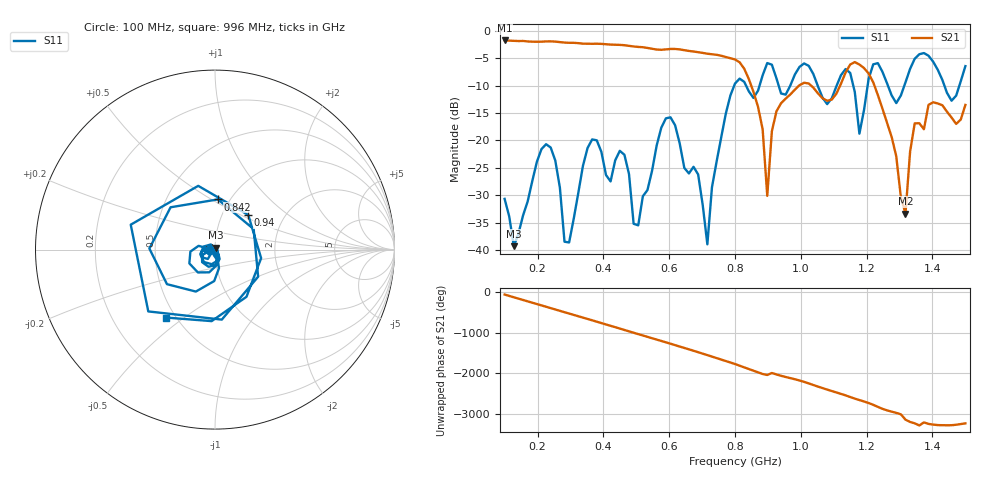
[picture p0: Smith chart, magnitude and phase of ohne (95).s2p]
! NanoVNA-App
! Date: 2025-09-26 09:56:08
! Start: 100MHz Stop: 1,5GHz Points: 101
! S-Parameter data: F S11 S21 S12 S22
# Hz S RI R 50
!  Frequency  S11_Real  S11_Imag  S21_Real  S21_Imag  S12_Real  S12_Imag  S22_Real  S22_Imag
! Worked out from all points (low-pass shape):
!   101 points, 100 MHz to 1.5 GHz, reference 50 ohm
!   highest |S21| = -1.79 dB at 100 MHz (marker M1); lowest = -33.3 dB at 1.318 GHz (marker M2)
!   |S21| within 3 dB of the highest: start of sweep to 771.1 MHz
!   lowest |S11| = -39.3 dB at 128 MHz (marker M3), VSWR 1.02, Z = 50.3 + j1.06 ohm
!   |S11| at or under -10 dB: start of sweep to 797.7 MHz; 833.5 MHz to 874.7 MHz (41.21 MHz wide, 4.83 % of centre); 1.051 GHz to 1.109 GHz (57.83 MHz wide, 5.35 % of centre)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
!   S12 and S22 are empty: the file has one direction only
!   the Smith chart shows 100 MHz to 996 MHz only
!   S11 on the Smith chart (normalised r, x): 100 MHz: 0.94, -0.01; 842 MHz: 0.88, +0.53; 940 MHz: 1.32, +0.55; 996 MHz: 0.44, -0.43
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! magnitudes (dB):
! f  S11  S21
! 100 MHz  -30.6  -1.8
! 128 MHz  -39.3  -1.9
! 212 MHz  -21.6  -2.0
! 282 MHz  -38.4  -2.2
! 338 MHz  -24.6  -2.4
! 464 MHz  -22.6  -2.7
! 506 MHz  -35.5  -3.0
! 576 MHz  -17.7  -3.5
! 716 MHz  -38.9  -4.2
! 800 MHz  -9.6  -5.3
! 842 MHz  -11.1  -8.8
! 898 MHz  -5.9  -30.1
! 940 MHz  -11.4  -13.2
! 996 MHz  -6.6  -9.9
! 1.038 GHz  -7.9  -10.4
! 1.15 GHz  -7.7  -6.2
! 1.178 GHz  -18.8  -6.2
! 1.22 GHz  -6.1  -9.4
! 1.276 GHz  -11.8  -19.4
! 1.318 GHz  -9.4  -33.3
! 1.346 GHz  -5.1  -16.9
! 1.5 GHz  -6.5  -13.5
